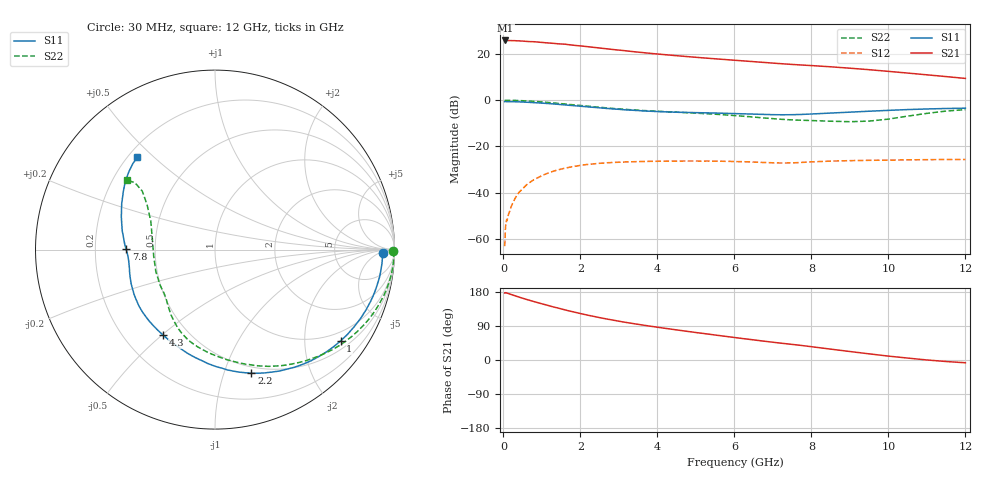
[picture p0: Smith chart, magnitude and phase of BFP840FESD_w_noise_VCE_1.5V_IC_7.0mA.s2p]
! Infineon Technologies  Discrete & RF Semiconductors
! BFP840FESD
! VCE =  1.5 V,  IC =  7.0 mA
! Common Emitter S-Parameters:  May 2012
# GHz  S  MA  R  50
!  f  S11  S21  S12  S22
! GHz  MAG  ANG  MAG  ANG  MAG  ANG  MAG  ANG
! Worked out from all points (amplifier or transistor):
!   103 points, 30 MHz to 12 GHz, reference 50 ohm
!   highest |S21| = 25.8 dB at 50 MHz (marker M1)
!   |S21| within 3 dB of that: start of sweep to 2.357 GHz
!   unconditionally stable (mu >= 1): 6.756 GHz to end of sweep
!   at 400 MHz: K = 0.05, MSG = 32.8 dB, |S12| = -39.9 dB
!   at 3.7 GHz: K = 0.43, MSG = 23.5 dB, |S12| = -26.5 dB
!   at 12 GHz: K = 1.22, MAG = 14.7 dB, |S12| = -25.6 dB
!   lowest NFmin = 0.59 dB at 450 MHz
!   S11 on the Smith chart (normalised r, x): 30 MHz: 27, -8; 1 GHz: 0.72, -2.92; 2.2 GHz: 0.44, -1.24; 4.3 GHz: 0.36, -0.51; 7.8 GHz: 0.34, +0.00; 12 GHz: 0.24, +0.44
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0.03  0.9343 -1.1  19.48 176.8  0.0007 96.6  0.9929 -0.6
0.04  0.9346 -1.4  19.49 176.6  0.0009 84.5  0.9942 -0.9
0.05  0.9339 -1.9  19.59 177.8  0.0016 72.3  0.9966 -1.2
0.3  0.9265 -11.2  19.36 169.5  0.0075 83.1  0.9897 -9.1
0.6  0.9054 -22.0  18.71 159.8  0.0148 75.3  0.9647 -18.1
0.8  0.8863 -29.1  18.37 153.9  0.0194 70.8  0.943 -23.9
1  0.8654 -36.0  17.74 148.3  0.0235 66.1  0.9169 -29.5
1.3  0.8298 -46.0  16.94 140.0  0.0293 59.4  0.8742 -37.8
1.6  0.7908 -56.0  16.27 132.2  0.0339 53.2  0.8282 -45.8
2.1  0.7295 -70.8  14.64 120.3  0.0401 44.1  0.7551 -58.4
2.2  0.7177 -73.6  14.34 118.1  0.0411 42.2  0.742 -60.8
2.6  0.674 -84.1  13.15 109.8  0.0438 36.4  0.6921 -69.4
3.1  0.6248 -96.2  11.89 100.5  0.046 30.6  0.6408 -78.8
3.6  0.5907 -106.9  10.74 92.5  0.0473 26.1  0.6011 -87.2
4.1  0.5657 -117.2  9.808 85.1  0.0482 22.4  0.5716 -94.6
4.3  0.5579 -121.2  9.482 82.2  0.0483 21.2  0.5606 -97.4
5.1  0.5367 -136.0  8.342 71.2  0.0484 17.0  0.5203 -107.5
6.1  0.5114 -152.9  7.219 58.1  0.0471 13.3  0.4597 -119.8
7.8  0.4953 179.8  5.739 37.6  0.0455 18.0  0.3682 -143.8
8.5  0.5278 168.4  5.278 28.7  0.0483 18.1  0.3515 -159.7
10.5  0.628 142.8  3.866 5.1  0.0514 17.0  0.4531 146.6
12  0.6723 130.2  2.958 -7.3  0.0523 18.6  0.6261 141.9
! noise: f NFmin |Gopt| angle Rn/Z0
0.45  0.59  0.44  5  0.15
0.9  0.62  0.42  12  0.16
1.5  0.64  0.38  18  0.15
1.9  0.65  0.34  26  0.15
2.4  0.67  0.32  33  0.15
3.5  0.68  0.31  55  0.15
5.5  0.75  0.21  94  0.12
8  0.89  0.18  153  0.11
10  1.04  0.24  -145  0.11
12  1.25  0.41  -120  0.13
